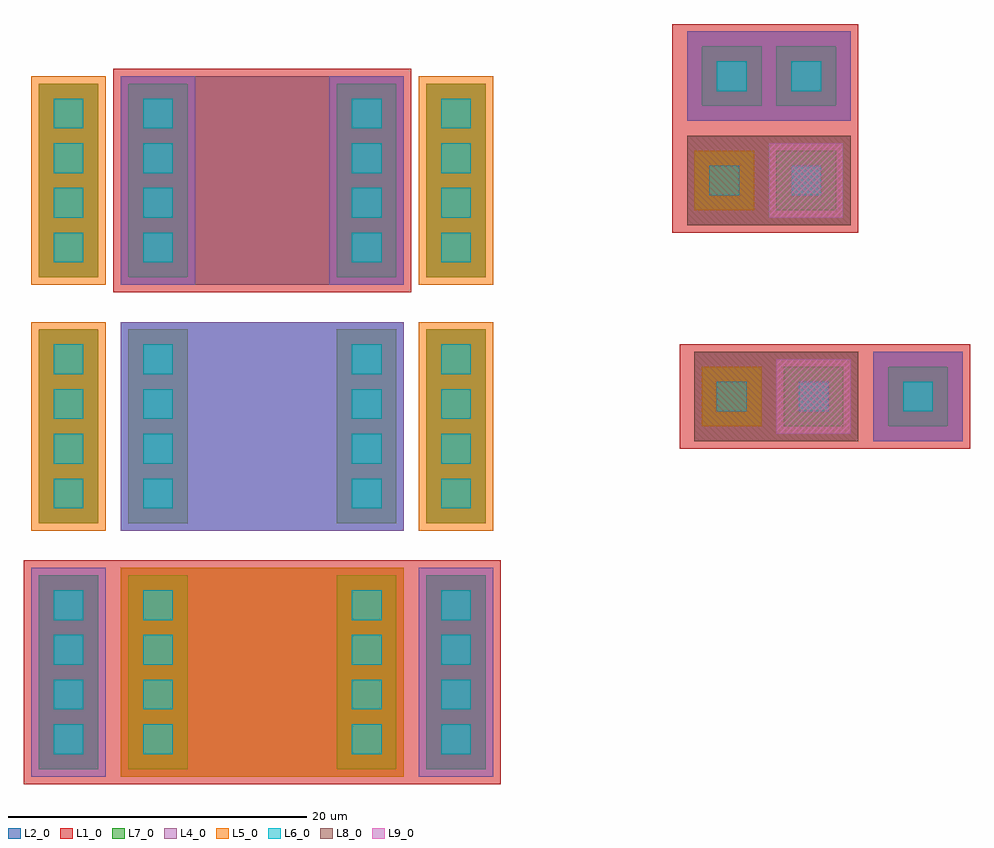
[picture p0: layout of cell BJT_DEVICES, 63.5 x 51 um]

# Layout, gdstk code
import gdstk
lib = gdstk.Library(unit=1e-6, precision=1e-09)
def R(c, l, rs):  # rectangles x0, y0, x1, y1
    for r in rs: c.add(gdstk.rectangle(r[:2], r[2:], *l))
def A(c, l, x, y, w, h, nx, ny, dx, dy):  # array of equal rectangles
    R(c, l, [(x+i*dx, y+j*dy, x+i*dx+w, y+j*dy+h) for i in range(nx) for j in range(ny)])
L1_0 = (1, 0)
L2_0 = (2, 0)
L4_0 = (4, 0)
L5_0 = (5, 0)
L6_0 = (6, 0)
L7_0 = (7, 0)
L8_0 = (8, 0)
L9_0 = (9, 0)

bjt_devices = lib.new_cell('BJT_DEVICES')
R(bjt_devices, L1_0, [(-48,23,-16,38), (-4,45.5,15.5,52.5), (-42,56,-22,71), (-4.5,60,8,74)])
A(bjt_devices, L2_0, -41.5, 23.5, 19, 14, 1, 3, 0, 16.5)
A(bjt_devices, L2_0, -47, 24, 4, 13, 1, 3, 0, 16.5)
A(bjt_devices, L2_0, -21, 24, 4, 13, 1, 3, 0, 16.5)
R(bjt_devices, L2_0, [(-3,46,8,52), (9,46,15,52), (-3.5,60.5,7.5,66.5), (-3.5,67.5,7.5,73.5)])
R(bjt_devices, L4_0, [(-47.5,23.5,-42.5,37.5), (-21.5,23.5,-16.5,37.5), (-41.5,40,-22.5,54), (9,46,15,52), (-41.5,56.5,-36.5,70.5), (-27.5,56.5,-22.5,70.5), (-3.5,67.5,7.5,73.5)])
R(bjt_devices, L5_0, [(-41.5,23.5,-22.5,37.5), (-47.5,40,-42.5,54), (-21.5,40,-16.5,54), (-2.5,47,1.5,51), (-47.5,56.5,-42.5,70.5), (-21.5,56.5,-16.5,70.5), (-3,61.5,1,65.5)])
A(bjt_devices, L6_0, -46, 25, 2, 2, 1, 4, 0, 3)
A(bjt_devices, L6_0, -40, 25, 2, 2, 1, 4, 0, 3)
A(bjt_devices, L6_0, -26, 25, 2, 2, 1, 4, 0, 3)
A(bjt_devices, L6_0, -20, 25, 2, 2, 1, 4, 0, 3)
A(bjt_devices, L6_0, -46, 41.5, 2, 2, 1, 4, 0, 3)
A(bjt_devices, L6_0, -40, 41.5, 2, 2, 1, 4, 0, 3)
A(bjt_devices, L6_0, -26, 41.5, 2, 2, 1, 4, 0, 3)
A(bjt_devices, L6_0, -20, 41.5, 2, 2, 1, 4, 0, 3)
A(bjt_devices, L6_0, -46, 58, 2, 2, 1, 4, 0, 3)
A(bjt_devices, L6_0, -40, 58, 2, 2, 1, 4, 0, 3)
A(bjt_devices, L6_0, -26, 58, 2, 2, 1, 4, 0, 3)
A(bjt_devices, L6_0, -20, 58, 2, 2, 1, 4, 0, 3)
R(bjt_devices, L6_0, [(-1.5,48,0.5,50), (4,48,6,50), (11,48,13,50), (-2,62.5,0,64.5), (3.5,62.5,5.5,64.5), (-1.5,69.5,0.5,71.5), (3.5,69.5,5.5,71.5)])
A(bjt_devices, L7_0, -47, 24, 4, 13, 1, 3, 0, 16.5)
A(bjt_devices, L7_0, -41, 24, 4, 13, 1, 3, 0, 16.5)
A(bjt_devices, L7_0, -27, 24, 4, 13, 1, 3, 0, 16.5)
A(bjt_devices, L7_0, -21, 24, 4, 13, 1, 3, 0, 16.5)
R(bjt_devices, L7_0, [(-2.5,47,1.5,51), (3,47,7,51), (10,47,14,51), (-3,61.5,1,65.5), (2.5,61.5,6.5,65.5), (-2.5,68.5,1.5,72.5), (2.5,68.5,6.5,72.5)])
R(bjt_devices, L8_0, [(-3,46,8,52), (-3.5,60.5,7.5,66.5)])
R(bjt_devices, L9_0, [(2.5,46.5,7.5,51.5), (2,61,7,66)])

lib.write_gds('BJT_DEVICES.gds')
